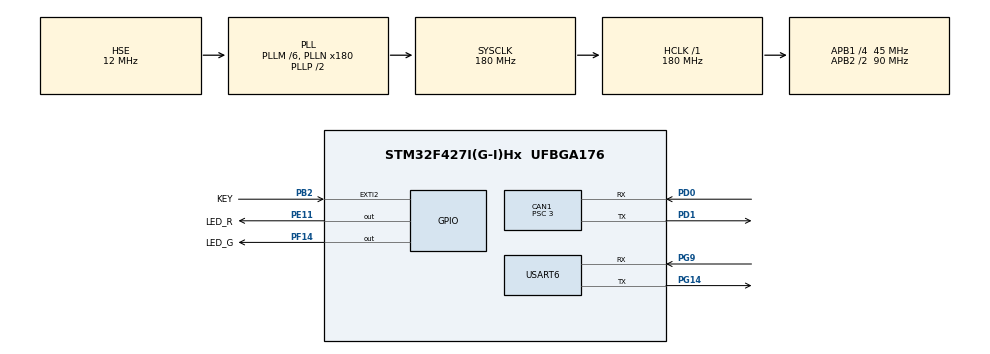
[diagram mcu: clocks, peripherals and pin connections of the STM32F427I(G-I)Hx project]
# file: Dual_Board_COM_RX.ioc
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CAN1.ABOM=ENABLE
CAN1.BS1=CAN_BS1_10TQ
CAN1.BS2=CAN_BS2_4TQ
CAN1.CalculateBaudRate=1000000
CAN1.CalculateTimeBit=1000
CAN1.CalculateTimeQuantum=66.66666666666666
CAN1.Prescaler=3
Dma.Request0=USART6_RX
Dma.Request1=USART6_TX
Dma.USART6_RX.0.Direction=DMA_PERIPH_TO_MEMORY
Dma.USART6_RX.0.FIFOMode=DMA_FIFOMODE_DISABLE
Dma.USART6_RX.0.Instance=DMA2_Stream1
Dma.USART6_RX.0.MemDataAlignment=DMA_MDATAALIGN_BYTE
Dma.USART6_RX.0.MemInc=DMA_MINC_ENABLE
Dma.USART6_RX.0.Mode=DMA_NORMAL
Dma.USART6_RX.0.PeriphDataAlignment=DMA_PDATAALIGN_BYTE
Dma.USART6_RX.0.PeriphInc=DMA_PINC_DISABLE
Dma.USART6_RX.0.Priority=DMA_PRIORITY_VERY_HIGH
Dma.USART6_TX.1.Direction=DMA_MEMORY_TO_PERIPH
Dma.USART6_TX.1.FIFOMode=DMA_FIFOMODE_DISABLE
Dma.USART6_TX.1.Instance=DMA2_Stream6
Dma.USART6_TX.1.MemDataAlignment=DMA_MDATAALIGN_BYTE
Dma.USART6_TX.1.MemInc=DMA_MINC_ENABLE
Dma.USART6_TX.1.Mode=DMA_NORMAL
Dma.USART6_TX.1.PeriphDataAlignment=DMA_PDATAALIGN_BYTE
Dma.USART6_TX.1.PeriphInc=DMA_PINC_DISABLE
Dma.USART6_TX.1.Priority=DMA_PRIORITY_VERY_HIGH
Mcu.Family=STM32F4
Mcu.Name=STM32F427I(G-I)Hx
Mcu.Package=UFBGA176
NVIC.CAN1_RX0_IRQn=true\:0\:0\:false\:false\:true\:true\:true\:true
NVIC.CAN1_RX1_IRQn=true\:0\:0\:false\:false\:true\:true\:true\:true
NVIC.CAN1_SCE_IRQn=true\:0\:0\:false\:false\:true\:true\:true\:true
NVIC.DMA2_Stream1_IRQn=true\:0\:0\:false\:false\:true\:false\:true\:true
NVIC.DMA2_Stream6_IRQn=true\:0\:0\:false\:false\:true\:false\:true\:true
NVIC.EXTI2_IRQn=true\:0\:0\:false\:false\:true\:true\:true\:true
NVIC.PriorityGroup=NVIC_PRIORITYGROUP_4
NVIC.TIM1_BRK_TIM9_IRQn=true\:0\:0\:false\:false\:true\:true\:true\:true
NVIC.TIM1_CC_IRQn=true\:0\:0\:false\:false\:true\:true\:true\:true
NVIC.TIM1_TRG_COM_TIM11_IRQn=true\:0\:0\:false\:false\:true\:true\:true\:true
NVIC.TIM1_UP_TIM10_IRQn=true\:0\:0\:false\:false\:true\:true\:true\:true
NVIC.TIM8_BRK_TIM12_IRQn=true\:0\:0\:false\:false\:true\:true\:true\:true
NVIC.TIM8_CC_IRQn=true\:0\:0\:false\:false\:true\:true\:true\:true
NVIC.TIM8_TRG_COM_TIM14_IRQn=true\:0\:0\:false\:false\:true\:true\:true\:true
NVIC.TIM8_UP_TIM13_IRQn=true\:0\:0\:false\:false\:true\:true\:true\:true
PA13.Mode=Serial_Wire
PA13.Signal=SYS_JTMS-SWDIO
PA14.Mode=Serial_Wire
PA14.Signal=SYS_JTCK-SWCLK
PA9.Signal=S_TIM1_CH2
PB2/BOOT1.GPIO_Label=KEY
PB2/BOOT1.Signal=GPXTI2
PD0.Mode=CAN_Activate
PD0.Signal=CAN1_RX
PD1.Mode=CAN_Activate
PD1.Signal=CAN1_TX
PE11.GPIO_Label=LED_R
PE11.Signal=GPIO_Output
PF14.GPIO_Label=LED_G
PF14.Signal=GPIO_Output
PG14.Mode=Asynchronous
PG14.Signal=USART6_TX
PG9.Mode=Asynchronous
PG9.Signal=USART6_RX
PH0/OSC_IN.Mode=HSE-External-Oscillator
PH0/OSC_IN.Signal=RCC_OSC_IN
PH1/OSC_OUT.Mode=HSE-External-Oscillator
PH1/OSC_OUT.Signal=RCC_OSC_OUT
ProjectManager.HeapSize=0x200
ProjectManager.StackSize=0x400
ProjectManager.TargetToolchain=MDK-ARM V5.32
RCC.48MHZClocksFreq_Value=90000000
RCC.AHBFreq_Value=180000000
RCC.APB1CLKDivider=RCC_HCLK_DIV4
RCC.APB1Freq_Value=45000000
RCC.APB1TimFreq_Value=90000000
RCC.APB2CLKDivider=RCC_HCLK_DIV2
RCC.APB2Freq_Value=90000000
RCC.APB2TimFreq_Value=180000000
RCC.CortexFreq_Value=180000000
RCC.HCLKFreq_Value=180000000
RCC.HSE_VALUE=12000000
RCC.HSI_VALUE=16000000
RCC.LSE_VALUE=32768
RCC.PLLM=6
RCC.PLLN=180
RCC.PLLSourceVirtual=RCC_PLLSOURCE_HSE
RCC.SYSCLKFreq_VALUE=180000000
RCC.SYSCLKSource=RCC_SYSCLKSOURCE_PLLCLK
RCC.VCOOutputFreq_Value=360000000
SH.S_TIM1_CH2.0=TIM1_CH2
TIM1.Period=9999
TIM1.Prescaler=8
TIM8.Period=9999
TIM8.Prescaler=8999
USART6.VirtualMode=VM_ASYNC
USART6.WordLength=WORDLENGTH_8B
VP_TIM1_VS_ClockSourceINT.Mode=Internal
VP_TIM8_VS_ClockSourceINT.Mode=Internal
board=custom

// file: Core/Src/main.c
/* USER CODE BEGIN Header */
/**
  ******************************************************************************
  * @file           : main.c
  * @brief          : Main program body
  ******************************************************************************
  * @attention
  *
  * Copyright (c) 2024 STMicroelectronics.
  * All rights reserved.
  *
  * This software is licensed under terms that can be found in the LICENSE file
  * in the root directory of this software component.
  * If no LICENSE file comes with this software, it is provided AS-IS.
  *
  ******************************************************************************
  */
/* USER CODE END Header */
#include "main.h"
#include "can.h"
#include "dma.h"
#include "tim.h"
#include "usart.h"
#include "gpio.h"

/* USER CODE BEGIN PD */
extern DMA_HandleTypeDef hdma_usart6_rx;
CAN_RxHeaderTypeDef RxHeader;
uint32_t TxMailbox=CAN_TX_MAILBOX0;
uint8_t RxData[8];
uint8_t TxData[8]={0x01,0x34,0x10,0x10,0x10,0x05,0x34,0x45};
CAN_TxHeaderTypeDef TxHeader={
.StdId=0x200,
.ExtId=0x000,
.IDE=CAN_ID_STD,
.RTR=CAN_RTR_DATA,
.DLC=8,
.TransmitGlobalTime=DISABLE
};
/* USER CODE END PD */

void SystemClock_Config(void);

int main(void)
{

  /* MCU Configuration--------------------------------------------------------*/

  /* Reset of all peripherals, Initializes the Flash interface and the Systick. */
  HAL_Init();

  /* Configure the system clock */
  SystemClock_Config();

  /* Initialize all configured peripherals */
  MX_GPIO_Init();
  MX_DMA_Init();
  MX_CAN1_Init();
  MX_USART6_UART_Init();
  MX_TIM1_Init();
  MX_TIM8_Init();
  /* USER CODE BEGIN 2 */
  // HAL_TIM_Base_Start_IT(&htim1);
  // HAL_UARTEx_ReceiveToIdle_DMA(&huart6,TxData,sizeof(TxData));
  //   __HAL_DMA_DISABLE_IT(&hdma_usart6_rx,DMA_IT_HT);
  CAN_FilterTypeDef FilterConfig =
        {
    .FilterIdHigh=0x0000,
    .FilterIdLow=0x0000,
    .FilterMaskIdHigh=0x0000,
    .FilterMaskIdLow=0x0000,
    .FilterFIFOAssignment=CAN_FILTER_FIFO0,
    .FilterBank=14,
    .FilterMode=CAN_FILTERMODE_IDMASK,
    .FilterScale=CAN_FILTERSCALE_32BIT,
    .FilterActivation=ENABLE,
    .SlaveStartFilterBank=0
    };
  HAL_CAN_ConfigFilter(&hcan1, &FilterConfig);
  HAL_CAN_Start(&hcan1);
  HAL_CAN_ActivateNotification(&hcan1,CAN_IT_RX_FIFO0_MSG_PENDING);

  /* USER CODE END 2 */

  /* Infinite loop */
  while (1)
  {

  }
}

void SystemClock_Config(void)
{
  RCC_OscInitTypeDef RCC_OscInitStruct = {0};
  RCC_ClkInitTypeDef RCC_ClkInitStruct = {0};

  /** Configure the main internal regulator output voltage
  */
  __HAL_RCC_PWR_CLK_ENABLE();
  __HAL_PWR_VOLTAGESCALING_CONFIG(PWR_REGULATOR_VOLTAGE_SCALE1);

  /** Initializes the RCC Oscillators according to the specified parameters
  * in the RCC_OscInitTypeDef structure.
  */
  RCC_OscInitStruct.OscillatorType = RCC_OSCILLATORTYPE_HSE;
  RCC_OscInitStruct.HSEState = RCC_HSE_ON;
  RCC_OscInitStruct.PLL.PLLState = RCC_PLL_ON;
  RCC_OscInitStruct.PLL.PLLSource = RCC_PLLSOURCE_HSE;
  RCC_OscInitStruct.PLL.PLLM = 6;
  RCC_OscInitStruct.PLL.PLLN = 180;
  RCC_OscInitStruct.PLL.PLLP = RCC_PLLP_DIV2;
  RCC_OscInitStruct.PLL.PLLQ = 4;
  if (HAL_RCC_OscConfig(&RCC_OscInitStruct) != HAL_OK)
  {
    Error_Handler();
  }

  /** Activate the Over-Drive mode
  */
  if (HAL_PWREx_EnableOverDrive() != HAL_OK)
  {
    Error_Handler();
  }

  /** Initializes the CPU, AHB and APB buses clocks
  */
  RCC_ClkInitStruct.ClockType = RCC_CLOCKTYPE_HCLK|RCC_CLOCKTYPE_SYSCLK
                              |RCC_CLOCKTYPE_PCLK1|RCC_CLOCKTYPE_PCLK2;
  RCC_ClkInitStruct.SYSCLKSource = RCC_SYSCLKSOURCE_PLLCLK;
  RCC_ClkInitStruct.AHBCLKDivider = RCC_SYSCLK_DIV1;
  RCC_ClkInitStruct.APB1CLKDivider = RCC_HCLK_DIV4;
  RCC_ClkInitStruct.APB2CLKDivider = RCC_HCLK_DIV2;

  if (HAL_RCC_ClockConfig(&RCC_ClkInitStruct, FLASH_LATENCY_5) != HAL_OK)
  {
    Error_Handler();
  }
}

void Error_Handler(void)
{
  __disable_irq();
  while (1)
  {
  }
}
